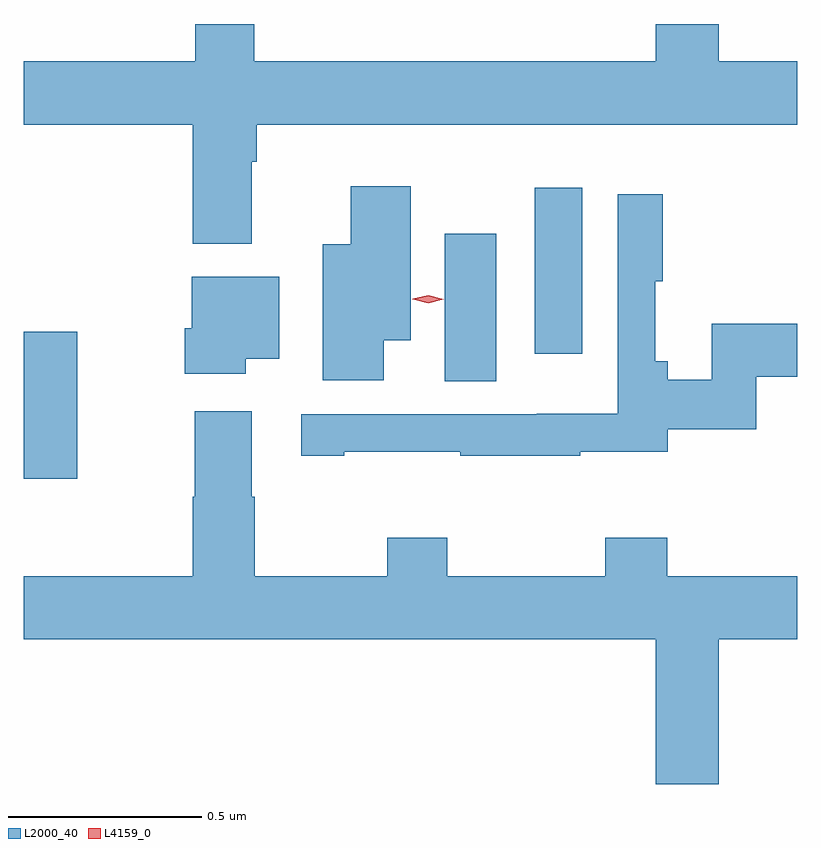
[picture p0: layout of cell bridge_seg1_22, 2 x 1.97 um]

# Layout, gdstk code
import gdstk
lib = gdstk.Library(unit=1e-6, precision=1e-09)
def R(c, l, rs):  # rectangles x0, y0, x1, y1
    for r in rs: c.add(gdstk.rectangle(r[:2], r[2:], *l))
def P(c, l, *ps):  # polygons
    for p in ps: c.add(gdstk.Polygon(p, *l))
L2000_40 = (2000, 40)
L4159_0 = (4159, 0)

bridge_seg1_22 = lib.new_cell('bridge_seg1_22')
R(bridge_seg1_22, L2000_40, [(702.834,581.451,702.972,581.832), (703.922,581.704,704.056,582.085), (704.156,581.775,704.278,582.205)])
P(bridge_seg1_22, L2000_40, [(703.423,582.272),(703.436,582.272),(703.436,582.368),(704.834,582.368),(704.834,582.532),(704.632,582.532),(704.632,582.628),(704.468,582.628),(704.468,582.532),(703.43,582.532),(703.43,582.628),(703.277,582.628),(703.277,582.532),(702.834,582.532),(702.834,582.368),(703.271,582.368),(703.271,582.059),(703.423,582.059)],
  [(703.765,581.81),(703.834,581.81),(703.834,582.208),(703.679,582.208),(703.679,582.058),(703.607,582.058),(703.607,581.706),(703.765,581.706)],
  [(703.663,581.521),(703.963,581.521),(703.963,581.511),(704.273,581.511),(704.273,581.521),(704.5,581.521),(704.5,581.58),(704.729,581.58),(704.729,581.716),(704.834,581.716),(704.834,581.852),(704.613,581.852),(704.613,581.708),(704.5,581.708),(704.5,581.755),(704.467,581.755),(704.467,581.963),(704.486,581.963),(704.486,582.187),(704.37,582.187),(704.37,581.62),(704.16,581.62),(704.16,581.619),(703.551,581.619),(703.551,581.511),(703.663,581.511)],
  [(703.408,581.762),(703.495,581.762),(703.495,581.974),(703.268,581.974),(703.268,581.841),(703.25,581.841),(703.25,581.723),(703.408,581.723)],
  [(704.632,581.036),(704.834,581.036),(704.834,581.2),(704.498,581.2),(704.498,581.299),(704.338,581.299),(704.338,581.2),(703.929,581.2),(703.929,581.299),(703.774,581.299),(703.774,581.2),(703.431,581.2),(703.431,581.405),(703.423,581.405),(703.423,581.626),(703.276,581.626),(703.276,581.405),(703.271,581.405),(703.271,581.2),(702.834,581.2),(702.834,581.036),(704.468,581.036),(704.468,580.662),(704.632,580.662)])
P(bridge_seg1_22, L4159_0, [(703.88,581.906),(703.84,581.916),(703.839,581.916),(703.84,581.917),(703.88,581.926),(703.92,581.916),(703.92,581.916),(703.92,581.916)])

lib.write_gds('bridge_seg1_22.gds')
